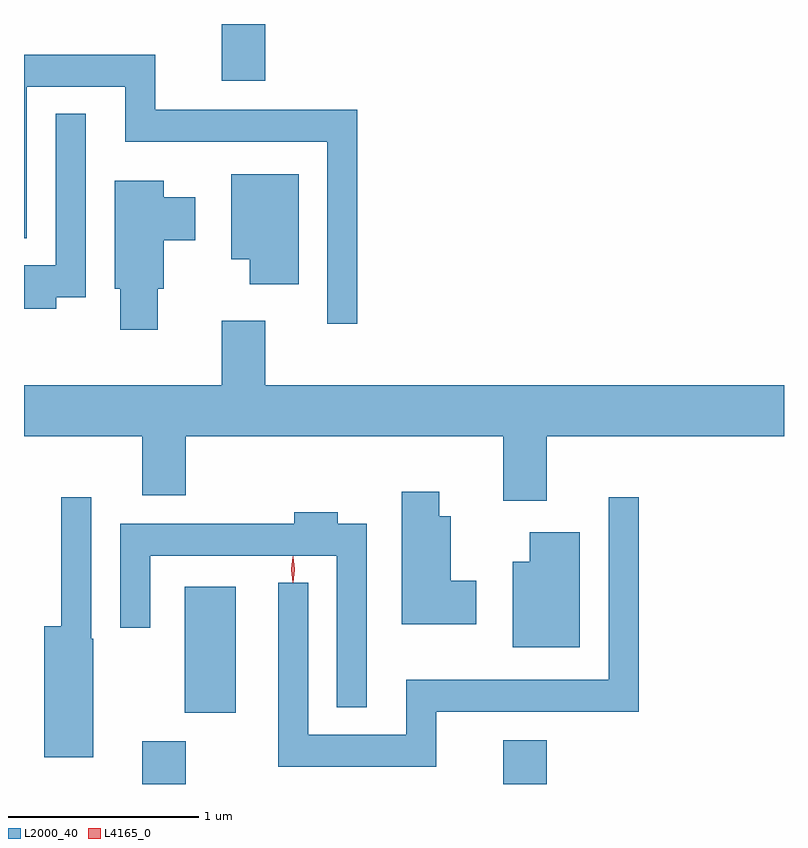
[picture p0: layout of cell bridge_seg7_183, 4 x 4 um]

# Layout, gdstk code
import gdstk
lib = gdstk.Library(unit=1e-6, precision=1e-09)
def R(c, l, rs):  # rectangles x0, y0, x1, y1
    for r in rs: c.add(gdstk.rectangle(r[:2], r[2:], *l))
def P(c, l, *ps):  # polygons
    for p in ps: c.add(gdstk.Polygon(p, *l))
L2000_40 = (2000, 40)
L4165_0 = (4165, 0)

bridge_seg7_183 = lib.new_cell('bridge_seg7_183')
R(bridge_seg7_183, L2000_40, [(1496.351,1701.385,1496.579,1701.609), (1498.251,1701.385,1498.479,1701.614), (1496.576,1701.761,1496.844,1702.424), (1496.771,1705.086,1496.999,1705.385)])
P(bridge_seg7_183, L2000_40, [(1497.484,1704.934),(1496.419,1704.934),(1496.419,1705.224),(1495.729,1705.224),(1495.729,1704.258),(1495.744,1704.258),(1495.744,1705.056),(1496.261,1705.056),(1496.261,1704.766),(1497.326,1704.766),(1497.326,1703.808),(1497.484,1703.808)],
  [(1495.899,1703.946),(1496.054,1703.946),(1496.054,1704.913),(1495.896,1704.913),(1495.896,1704.114),(1495.729,1704.114),(1495.729,1703.886),(1495.899,1703.886)],
  [(1497.174,1704.594),(1496.821,1704.594),(1496.821,1704.146),(1496.916,1704.146),(1496.916,1704.016),(1497.174,1704.016)],
  [(1496.434,1703.991),(1496.464,1703.991),(1496.464,1704.246),(1496.629,1704.246),(1496.629,1704.474),(1496.464,1704.474),(1496.464,1704.559),(1496.206,1704.559),(1496.206,1703.991),(1496.236,1703.991),(1496.236,1703.776),(1496.434,1703.776)],
  [(1498.479,1703.216),(1499.729,1703.216),(1499.729,1703.484),(1496.999,1703.484),(1496.999,1703.824),(1496.771,1703.824),(1496.771,1703.484),(1495.729,1703.484),(1495.729,1703.216),(1496.351,1703.216),(1496.351,1702.906),(1496.579,1702.906),(1496.579,1703.216),(1498.251,1703.216),(1498.251,1702.876),(1498.479,1702.876)],
  [(1498.109,1702.454),(1497.974,1702.454),(1497.974,1702.794),(1497.914,1702.794),(1497.914,1702.924),(1497.716,1702.924),(1497.716,1702.226),(1498.109,1702.226)],
  [(1496.094,1702.15),(1496.084,1702.15),(1496.084,1702.893),(1495.926,1702.893),(1495.926,1702.214),(1495.836,1702.214),(1495.836,1701.526),(1496.094,1701.526)],
  [(1497.899,1701.766),(1498.964,1701.766),(1498.964,1702.893),(1498.806,1702.893),(1498.806,1701.934),(1497.741,1701.934),(1497.741,1701.644),(1497.224,1701.644),(1497.224,1702.443),(1497.066,1702.443),(1497.066,1701.476),(1497.899,1701.476)],
  [(1497.534,1702.754),(1497.379,1702.754),(1497.379,1702.814),(1497.151,1702.814),(1497.151,1702.754),(1496.236,1702.754),(1496.236,1702.208),(1496.394,1702.208),(1496.394,1702.586),(1497.376,1702.586),(1497.376,1701.788),(1497.534,1701.788)],
  [(1498.654,1702.709),(1498.391,1702.709),(1498.391,1702.554),(1498.301,1702.554),(1498.301,1702.106),(1498.654,1702.106)])
P(bridge_seg7_183, L4165_0, [(1497.144,1702.444),(1497.135,1702.513),(1497.144,1702.582),(1497.145,1702.583),(1497.145,1702.582),(1497.155,1702.513),(1497.145,1702.444),(1497.145,1702.444)],
  [(1497.144,1702.447),(1497.135,1702.514),(1497.144,1702.58),(1497.145,1702.58),(1497.146,1702.58),(1497.155,1702.514),(1497.146,1702.447),(1497.145,1702.447)])

lib.write_gds('bridge_seg7_183.gds')
